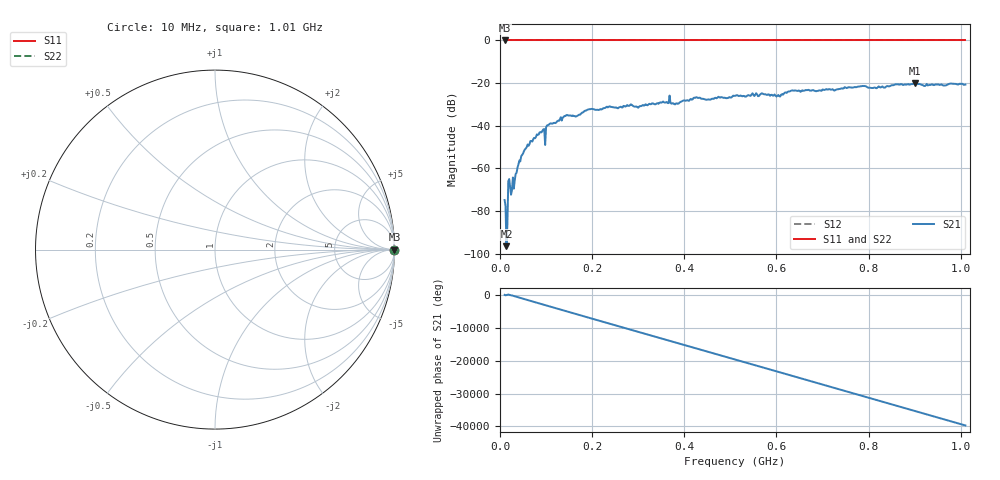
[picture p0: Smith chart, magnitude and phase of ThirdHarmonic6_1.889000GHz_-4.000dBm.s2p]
! 8/16/2025 10:48:35 PM
! C:\ANRITSUVNA\TEMP\TEMP.S2P
! CHANNEL.1
! TR.MEASUREMENT
! RAW.DATA
! RF.CORRECTION.OFF
! AVERAGING.OFF
! IF.BANDWIDTH: 5KHZ
! SWEEPTYPE:  FREQ.SWEEP(Linear)
! Reference Plane Port Info
! PORT:  PORT1  PORT2
! DISTANCE:  0  m  0  m
! TIME:  0  s  0  s
! PHASE.OFFSET:  0  deg.  0  deg.
! LOSS:  0  dB  0  dB
! REF.LOSS:  0  dB  0  dB
! REF.FREQ:  0  Hz  0  Hz
! Power Info
! POWER:  -20  dBm  -20  dBm
! EFF.POWER:  -20  dBm  -20  dBm
! SOURCE.ATTEN:  0  dB  0  dB
! TEST.ATTEN:  0  dB  0  dB
# GHZ S RI R 50.0
! FREQ.GHZ  S11RE  S11IM  S21RE  S21IM  S12RE  S12IM  S22RE  S22IM
!; PortSelection: Port_12
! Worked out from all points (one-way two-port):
!   501 points, 10 MHz to 1.01 GHz, reference 50 ohm
!   highest |S21| = -20.05 dB at 900 MHz (marker M1); lowest = -96.5 dB at 14 MHz (marker M2)
!   lowest |S11| = 0.0 dB at 10 MHz (marker M3)
!   |S11| at or under -10 dB: nowhere
!   |S22| runs from 0.0 to 0.0 dB; largest |S21 - S12| = 1.1
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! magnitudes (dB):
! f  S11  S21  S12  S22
! 10 MHz  0.0  -74.9  0.0  0.0
! 12 MHz  0.0  -77.6  0.0  0.0
! 14 MHz  0.0  -96.5  0.0  0.0
! 22 MHz  0.0  -68.9  0.0  0.0
! 28 MHz  0.0  -64.3  0.0  0.0
! 44 MHz  0.0  -56.7  0.0  0.0
! 64 MHz  0.0  -48.6  0.0  0.0
! 90 MHz  0.0  -43.1  0.0  0.0
! 94 MHz  0.0  -41.7  0.0  0.0
! 106 MHz  0.0  -39.5  0.0  0.0
! 142 MHz  0.0  -35.5  0.0  0.0
! 178 MHz  0.0  -33.9  0.0  0.0
! 196 MHz  0.0  -32.2  0.0  0.0
! 344 MHz  0.0  -29.7  0.0  0.0
! 382 MHz  0.0  -29.5  0.0  0.0
! 510 MHz  0.0  -26.0  0.0  0.0
! 604 MHz  0.0  -25.6  0.0  0.0
! 634 MHz  0.0  -23.4  0.0  0.0
! 678 MHz  0.0  -23.3  0.0  0.0
! 844 MHz  0.0  -21.6  0.0  0.0
! 900 MHz  0.0  -20.0  0.0  0.0
! 1.01 GHz  0.0  -20.7  0.0  0.0
